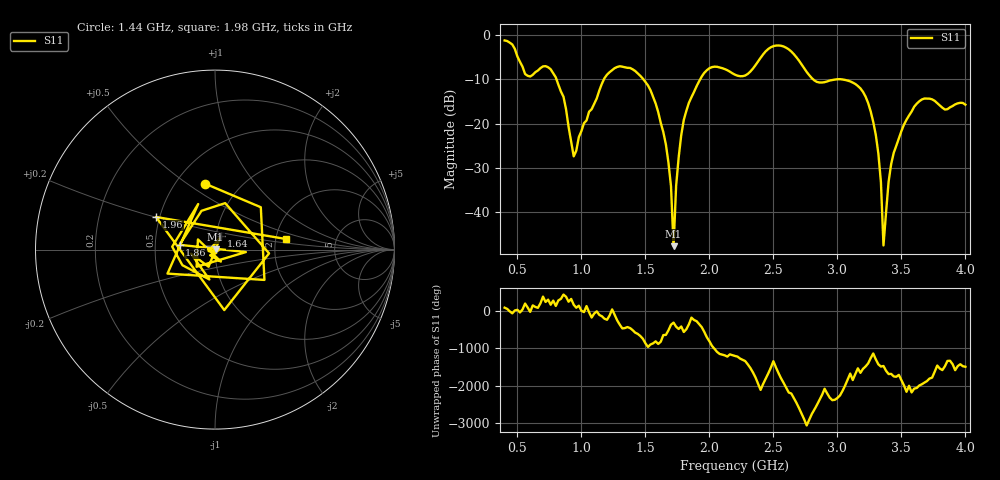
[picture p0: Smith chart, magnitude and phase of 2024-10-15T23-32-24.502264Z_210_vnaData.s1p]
! Created with skrf (http://scikit-rf.org).
# Hz S RI R 50.0
!freq ReS11 ImS11
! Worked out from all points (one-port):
!   181 points, 400 MHz to 4 GHz, reference 50 ohm
!   lowest |S11| = -47.6 dB at 1.72 GHz (marker M1), VSWR 1.01, Z = 50.3 + j0.268 ohm
!   |S11| at or under -10 dB: 805.6 MHz to 1.176 GHz (370 MHz wide, 37.3 % of centre); 1.485 GHz to 1.928 GHz (442.6 MHz wide, 25.9 % of centre); 3.037 GHz to end of sweep (the widest 3 of 4)
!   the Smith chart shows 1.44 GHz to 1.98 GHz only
!   S11 on the Smith chart (normalised r, x): 1.44 GHz: 0.69, +0.59; 1.64 GHz: 1.05, +0.16; 1.86 GHz: 0.67, +0.04; 1.96 GHz: 0.48, +0.20; 1.98 GHz: 2.29, +0.32
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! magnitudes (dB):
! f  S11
! 400 MHz  -1.2
! 580 MHz  -9.2
! 760 MHz  -7.7
! 860 MHz  -13.9
! 940 MHz  -27.4
! 1.18 GHz  -9.7
! 1.3 GHz  -7.0
! 1.44 GHz  -8.6
! 1.64 GHz  -21.9
! 1.7 GHz  -34.1
! 1.72 GHz  -47.6
! 1.74 GHz  -34.0
! 1.76 GHz  -27.6
! 1.86 GHz  -14.0
! 1.96 GHz  -8.5
! 1.98 GHz  -7.9
! 2.2 GHz  -8.9
! 2.5 GHz  -2.5
! 2.66 GHz  -4.3
! 2.84 GHz  -10.6
! 3.1 GHz  -10.4
! 3.28 GHz  -19.6
! 3.34 GHz  -33.2
! 3.36 GHz  -47.5
! 3.42 GHz  -29.1
! 3.56 GHz  -18.1
! 3.68 GHz  -14.3
! 4 GHz  -15.7
